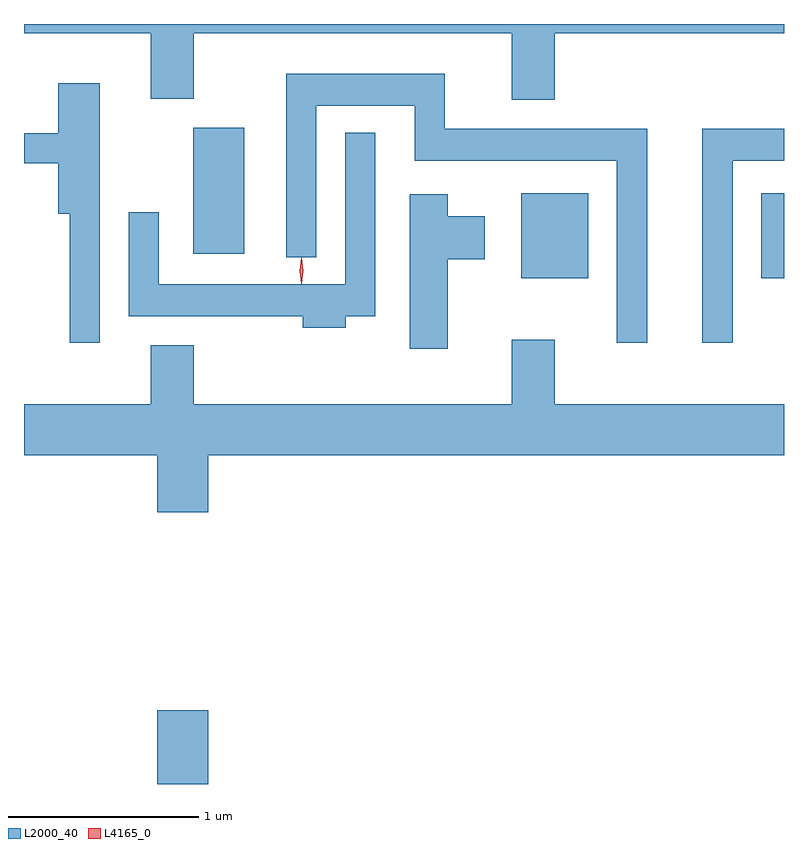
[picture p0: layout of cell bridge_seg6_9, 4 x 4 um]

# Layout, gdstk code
import gdstk
lib = gdstk.Library(unit=1e-6, precision=1e-09)
def R(c, l, rs):  # rectangles x0, y0, x1, y1
    for r in rs: c.add(gdstk.rectangle(r[:2], r[2:], *l))
def P(c, l, *ps):  # polygons
    for p in ps: c.add(gdstk.Polygon(p, *l))
L2000_40 = (2000, 40)
L4165_0 = (4165, 0)

bridge_seg6_9 = lib.new_cell('bridge_seg6_9')
R(bridge_seg6_9, L2000_40, [(1433.856,1652.645,1434.124,1653.034), (1435.771,1655.306,1436.124,1655.754), (1437.036,1655.306,1437.155,1655.754), (1434.046,1655.436,1434.314,1656.099)])
P(bridge_seg6_9, L2000_40, [(1433.155,1656.596),(1433.821,1656.596),(1433.821,1656.251),(1434.049,1656.251),(1434.049,1656.596),(1435.721,1656.596),(1435.721,1656.246),(1435.949,1656.246),(1435.949,1656.596),(1437.155,1656.596),(1437.155,1656.645),(1433.155,1656.645)],
  [(1436.434,1656.094),(1435.369,1656.094),(1435.369,1656.384),(1434.536,1656.384),(1434.536,1655.418),(1434.694,1655.418),(1434.694,1656.216),(1435.211,1656.216),(1435.211,1655.926),(1436.276,1655.926),(1436.276,1654.968),(1436.434,1654.968)],
  [(1433.554,1656.334),(1433.336,1656.334),(1433.336,1656.069),(1433.155,1656.069),(1433.155,1655.911),(1433.336,1655.911),(1433.336,1655.646),(1433.396,1655.646),(1433.396,1654.968),(1433.554,1654.968)],
  [(1436.884,1655.926),(1437.155,1655.926),(1437.155,1656.094),(1436.726,1656.094),(1436.726,1654.968),(1436.884,1654.968)],
  [(1434.849,1655.106),(1435.004,1655.106),(1435.004,1656.073),(1434.846,1656.073),(1434.846,1655.274),(1433.864,1655.274),(1433.864,1655.653),(1433.706,1655.653),(1433.706,1655.106),(1434.621,1655.106),(1434.621,1655.046),(1434.849,1655.046)],
  [(1435.384,1655.406),(1435.579,1655.406),(1435.579,1655.634),(1435.384,1655.634),(1435.384,1655.749),(1435.186,1655.749),(1435.186,1654.936),(1435.384,1654.936)],
  [(1434.124,1654.376),(1437.155,1654.376),(1437.155,1654.644),(1435.949,1654.644),(1435.949,1654.984),(1435.721,1654.984),(1435.721,1654.644),(1434.049,1654.644),(1434.049,1654.954),(1433.821,1654.954),(1433.821,1654.644),(1433.155,1654.644),(1433.155,1654.376),(1433.856,1654.376),(1433.856,1654.076),(1434.124,1654.076)])
P(bridge_seg6_9, L4165_0, [(1434.615,1655.277),(1434.614,1655.278),(1434.605,1655.346),(1434.614,1655.416),(1434.615,1655.416),(1434.616,1655.416),(1434.625,1655.346),(1434.616,1655.278)],
  [(1434.615,1655.279),(1434.614,1655.28),(1434.605,1655.346),(1434.614,1655.412),(1434.615,1655.413),(1434.615,1655.412),(1434.625,1655.346),(1434.615,1655.28)])

lib.write_gds('bridge_seg6_9.gds')
